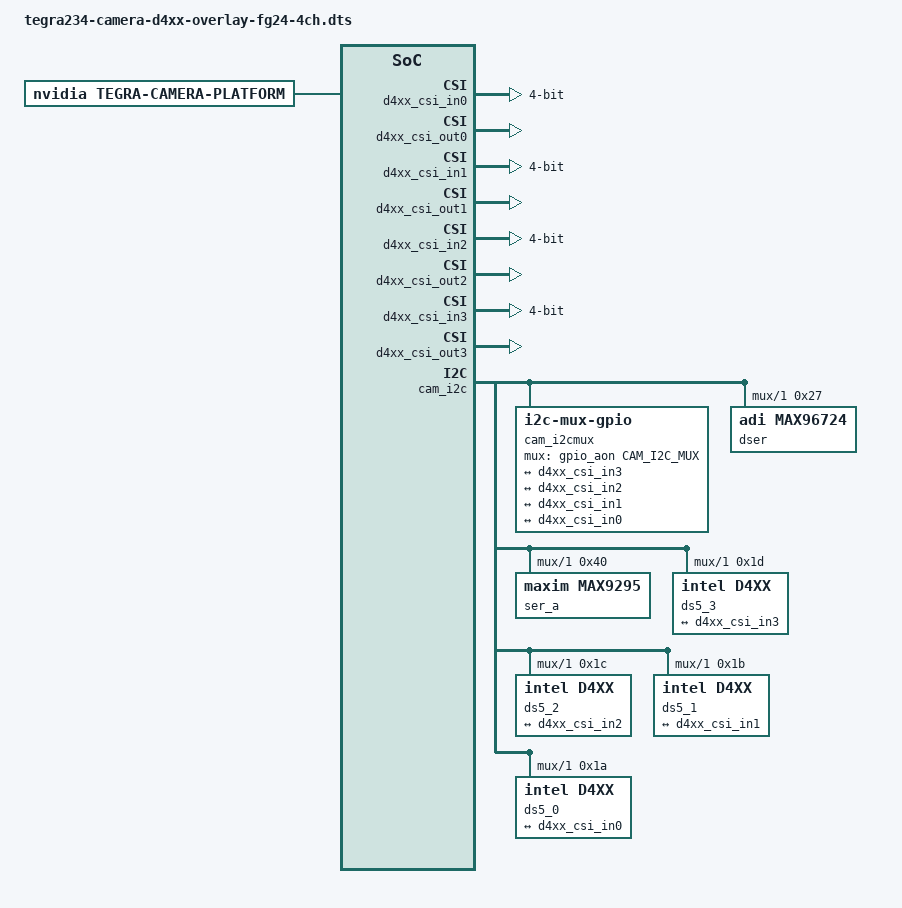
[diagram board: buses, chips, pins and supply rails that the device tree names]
// SPDX-License-Identifier: GPL-2.0-only
// SPDX-FileCopyrightText: Copyright (c) 2026, RealSense CORPORATION.  All rights reserved.

/*
 * RealSense D4xx (D457/D401/D45x) overlay for the FangZhu FG24-4CH carrier
 * board on NVIDIA Jetson Orin Nano (p3768-0000 + p3767-xxxx).
 *
 * Board topology (single camera on deserializer link A):
 *   D4xx --GMSL2--> MAX9295 serializer (0x40) --> MAX96724 deserializer (0x27)
 *        --CSI-2--> Orin Nano CSI port C (port-index = 2 / serial_c).
 *
 * The MAX96724 runs in pixel mode (adi,pixel-mode): one of its four video
 * pipes per stream, so the deserializer carries at most four concurrent
 * streams in total. Camera->serializer is 2-lane, deserializer->Jetson 4-lane
 * at 1300 Mbps/lane, hence serdes_pix_clk_hz = 4 x 1300 Mbps / 16 bpp.
 *
 * Derived from the FG12-4CH D4xx overlay (same Orin Nano connector, I2C mux
 * leg and CSI routing) with the FG24-4CH MAX96724 node of the D5xx overlay.
 */

/dts-v1/;
/plugin/;

#include <dt-bindings/clock/tegra234-clock.h>
#include <dt-bindings/gpio/tegra234-gpio.h>
#include <dt-bindings/tegra234-p3767-0000-common.h>

#define CAM_I2C_MUX	TEGRA234_AON_GPIO(CC, 3)

/ {
	overlay-name = "Jetson RealSense Camera D4xx with max96724 for FangZhu FG24-4CH on Orin Nano (link A)";
	jetson-header-name = "Jetson 22pin CSI Connector";
	compatible = JETSON_COMPATIBLE_P3768;

	fragment@0 {
		target-path = "/";
		__overlay__ {
			tegra-capture-vi {
				num-channels = <4>;
				ports {
					status = "okay";
					port@0 {
						status = "okay";
						reg = <0>;
						d4xx_vi_in0: endpoint {
							status = "okay";
							vc-id = <0>;
							port-index = <2>;
							bus-width = <4>;
							remote-endpoint = <&d4xx_csi_out0>;
						};
					};
					port@1 {
						status = "okay";
						reg = <1>;
						d4xx_vi_in1: endpoint {
							status = "okay";
							vc-id = <1>;
							port-index = <2>;
							bus-width = <4>;
							remote-endpoint = <&d4xx_csi_out1>;
						};
					};
					port@2 {
						status = "okay";
						reg = <2>;
						d4xx_vi_in2: endpoint {
							status = "okay";
							vc-id = <2>;
							port-index = <2>;
							bus-width = <4>;
							remote-endpoint = <&d4xx_csi_out2>;
						};
					};
					port@3 {
						status = "okay";
						reg = <3>;
						d4xx_vi_in3: endpoint {
							status = "okay";
							vc-id = <3>;
							port-index = <2>;
							bus-width = <4>;
							remote-endpoint = <&d4xx_csi_out3>;
						};
					};
				};
			};
			tegra-camera-platform {
				compatible = "nvidia, tegra-camera-platform";
				status = "okay";
				num_csi_lanes = <2>;
				max_lane_speed = <1500000>;
				min_bits_per_pixel = <8>;
				vi_peak_byte_per_pixel = <2>;
				vi_bw_margin_pct = <25>;
				max_pixel_rate = <160000>;
				isp_peak_byte_per_pixel = <5>;
				isp_bw_margin_pct = <25>;
				modules {
					status = "okay";
					module0 {
						status = "okay";
						badge = "d4xx_depth";
						position = "left";
						orientation = "1";
						drivernode0 {
							status = "okay";
							pcl_id = "v4l2_sensor";
							devname = "DS5 mux 2-001a";
							sysfs-device-tree = "/sys/firmware/devicetree/base/bus@0/cam_i2cmux/i2c@1/ds5@1a";
						};
					};
					module1 {
						status = "okay";
						badge = "d4xx_rgb";
						position = "left";
						orientation = "1";
						drivernode0 {
							status = "okay";
							pcl_id = "v4l2_sensor";
							devname = "DS5 mux 2-001b";
							sysfs-device-tree = "/sys/firmware/devicetree/base/bus@0/cam_i2cmux/i2c@1/ds5@1b";
						};
					};
					module2 {
						status = "okay";
						badge = "d4xx_Y8";
						position = "left";
						orientation = "1";
						drivernode0 {
							status = "okay";
							pcl_id = "v4l2_sensor";
							devname = "DS5 mux 2-001c";
							sysfs-device-tree = "/sys/firmware/devicetree/base/bus@0/cam_i2cmux/i2c@1/ds5@1c";
						};
					};
					module3 {
						status = "okay";
						badge = "d4xx_imu";
						position = "left";
						orientation = "1";
						drivernode0 {
							status = "okay";
							pcl_id = "v4l2_sensor";
							devname = "DS5 mux 2-001d";
							sysfs-device-tree = "/sys/firmware/devicetree/base/bus@0/cam_i2cmux/i2c@1/ds5@1d";
						};
					};
				};
			};
			bus@0 {
				host1x@13e00000 {
					nvcsi@15a00000 {
						num-channels = <4>;
						channel@0 {
							status = "okay";
							reg = <0>;
							ports {
								status = "okay";
								port@0 {
									status = "okay";
									reg = <0>;
									d4xx_csi_in0: endpoint@0 {
										status = "okay";
										port-index = <2>;
										bus-width = <4>;
										remote-endpoint = <&ds5_0_out>;
									};
								};
								port@1 {
									status = "okay";
									reg = <1>;
									d4xx_csi_out0: endpoint@1 {
										status = "okay";
										remote-endpoint = <&d4xx_vi_in0>;
									};
								};
							};
						};
						channel@1 {
							status = "okay";
							reg = <1>;
							ports {
								status = "okay";
								port@0 {
									status = "okay";
									reg = <0>;
									d4xx_csi_in1: endpoint@2 {
										status = "okay";
										port-index = <2>;
										bus-width = <4>;
										remote-endpoint = <&ds5_1_out>;
									};
								};
								port@1 {
									status = "okay";
									reg = <1>;
									d4xx_csi_out1: endpoint@3 {
										status = "okay";
										remote-endpoint = <&d4xx_vi_in1>;
									};
								};
							};
						};
						channel@2 {
							status = "okay";
							reg = <2>;
							ports {
								status = "okay";
								port@0 {
									status = "okay";
									reg = <0>;
									d4xx_csi_in2: endpoint@4 {
										status = "okay";
										port-index = <2>;
										bus-width = <4>;
										remote-endpoint = <&ds5_2_out>;
									};
								};
								port@1 {
									status = "okay";
									reg = <1>;
									d4xx_csi_out2: endpoint@5 {
										status = "okay";
										remote-endpoint = <&d4xx_vi_in2>;
									};
								};
							};
						};
						channel@3 {
							status = "okay";
							reg = <3>;
							ports {
								status = "okay";
								port@0 {
									status = "okay";
									reg = <0>;
									d4xx_csi_in3: endpoint@6 {
										status = "okay";
										port-index = <2>;
										bus-width = <4>;
										remote-endpoint = <&ds5_3_out>;
									};
								};
								port@1 {
									status = "okay";
									reg = <1>;
									d4xx_csi_out3: endpoint@7 {
										status = "okay";
										remote-endpoint = <&d4xx_vi_in3>;
									};
								};
							};
						};
					};
				};

				/*
				 * Camera control I2C: cam_i2c -> GPIO mux channel 1
				 * (i2c@1, CAM_I2C_MUX high), as on the FG24-4CH D5xx
				 * overlay. The video path is serial_c / port-index 2.
				 */
				cam_i2cmux {
					compatible = "i2c-mux-gpio";
					#address-cells = <1>;
					#size-cells = <0>;
					i2c-parent = <&cam_i2c>;
					mux-gpios = <&gpio_aon CAM_I2C_MUX GPIO_ACTIVE_HIGH>;

					i2c@1 {
						reg = <1>;
						#address-cells = <1>;
						#size-cells = <0>;

					dser: max96724@27 {
						status = "okay";
						reg = <0x27>;
						compatible = "adi,max96724";
						adi,pixel-mode;
						csi-mode = "2x4";
						csi-lane-count = <4>;
						/* Matches serdes_pix_clk_hz in every modeN. */
						csi-lane-rate-mbps = <1300>;
						max-src = <1>;
						link-mask = <0x1>;
						gmsl-link-speed = <6>;
					};

					ser_a: max9295_a@40 {
						status = "okay";
						compatible = "maxim,max9295";
						reg = <0x40>;
						maxim,gmsl-dser-device = <&dser>;
					};

					ds5_3: ds5@1d {
						status = "okay";
						def-addr = <0x10>;
						reg = <0x1d>;
						override_reg = <0x1a>;
						compatible = "intel,d4xx";
						use_sensor_mode_id = "true";
						cam-type = "IMU";
						nvidia,gmsl-ser-device = <&ser_a>;
						nvidia,gmsl-dser-device = <&dser>;
						ports {
							#address-cells = <1>;
							#size-cells = <0>;

							port@0 {
								reg = <0>;
								ds5_3_out: endpoint {
									vc-id = <3>;
									port-index = <3>;
									bus-width = <2>;
									remote-endpoint = <&d4xx_csi_in3>;
								};
							};
						};
						mode0 {
							pixel_t = "grey_y16";
							num_lanes = "4";
							csi_pixel_bit_depth = "16";
							active_w = "640";
							active_h = "480";
							tegra_sinterface = "serial_c";
							mclk_khz = "24000";
							pix_clk_hz = "74250000";
							serdes_pix_clk_hz = "325000000"; /* 4 lanes x 1300 Mbps / 16 bpp */
							line_length = "1280"; /* 2200 */
							embedded_metadata_height = "0";
						};
						gmsl-link {
							src-csi-port = "b";
							dst-csi-port = "a";
							serdes-csi-link = "a";
							csi-mode = "1x4";
							st-vc = <0>;
							vc-id = <3>;
							num-lanes = <2>;
						};
					};

					ds5_2: ds5@1c {
						status = "okay";
						def-addr = <0x10>;
						reg = <0x1c>;
						override_reg = <0x1a>;
						compatible = "intel,d4xx";
						use_sensor_mode_id = "true";
						cam-type = "Y8";
						nvidia,gmsl-ser-device = <&ser_a>;
						nvidia,gmsl-dser-device = <&dser>;
						ports {
							#address-cells = <1>;
							#size-cells = <0>;

							port@0 {
								reg = <0>;
								ds5_2_out: endpoint {
									vc-id = <2>;
									port-index = <2>;
									bus-width = <2>;
									remote-endpoint = <&d4xx_csi_in2>;
								};
							};
						};
						/* mode0: Y8, mode1: depth D16 */
						mode0 {
							pixel_t = "grey_y16";
							num_lanes = "4";
							csi_pixel_bit_depth = "16";
							active_w = "1280";
							active_h = "720";
							tegra_sinterface = "serial_c";
							mclk_khz = "24000";
							pix_clk_hz = "74250000";
							serdes_pix_clk_hz = "325000000"; /* 4 lanes x 1300 Mbps / 16 bpp */
							line_length = "1280"; /* 2200 */
							embedded_metadata_height = "1";
						};
						gmsl-link {
							src-csi-port = "b";
							dst-csi-port = "a";
							serdes-csi-link = "a";
							csi-mode = "1x4";
							st-vc = <0>;
							vc-id = <2>;
							num-lanes = <2>;
						};
					};

					ds5_1: ds5@1b {
						status = "okay";
						def-addr = <0x10>;
						reg = <0x1b>;
						override_reg = <0x1a>;
						compatible = "intel,d4xx";
						use_sensor_mode_id = "true";
						cam-type = "RGB";
						nvidia,gmsl-ser-device = <&ser_a>;
						nvidia,gmsl-dser-device = <&dser>;
						ports {
							#address-cells = <1>;
							#size-cells = <0>;

							port@0 {
								reg = <0>;
								ds5_1_out: endpoint {
									vc-id = <1>;
									port-index = <1>;
									bus-width = <2>;
									remote-endpoint = <&d4xx_csi_in1>;
								};
							};
						};
						mode0 {
							pixel_t = "grey_y16";
							num_lanes = "4";
							csi_pixel_bit_depth = "16";
							active_w = "1920";
							active_h = "1080";
							tegra_sinterface = "serial_c";
							mclk_khz = "24000";
							pix_clk_hz = "74250000";
							serdes_pix_clk_hz = "325000000"; /* 4 lanes x 1300 Mbps / 16 bpp */
							line_length = "1280"; /* 2200 */
							embedded_metadata_height = "1";
						};
						gmsl-link {
							src-csi-port = "b";
							dst-csi-port = "a";
							serdes-csi-link = "a";
							csi-mode = "1x4";
							st-vc = <0>;
							vc-id = <1>;
							num-lanes = <2>;
						};
					};

					ds5_0: ds5@1a {
						status = "okay";
						def-addr = <0x10>;
						reg = <0x1a>;
						compatible = "intel,d4xx";
						use_sensor_mode_id = "true";
						cam-type = "Depth";
						nvidia,gmsl-ser-device = <&ser_a>;
						nvidia,gmsl-dser-device = <&dser>;
						ports {
							#address-cells = <1>;
							#size-cells = <0>;

							port@0 {
								reg = <0>;
								ds5_0_out: endpoint {
									vc-id = <0>;
									port-index = <0>;
									bus-width = <2>;
									remote-endpoint = <&d4xx_csi_in0>;
								};
							};
						};
						mode0 {
							pixel_t = "grey_y16";
							num_lanes = "4";
							csi_pixel_bit_depth = "16";
							active_w = "1280";
							active_h = "720";
							tegra_sinterface = "serial_c";
							mclk_khz = "24000";
							pix_clk_hz = "74250000";
							serdes_pix_clk_hz = "325000000"; /* 4 lanes x 1300 Mbps / 16 bpp */
							line_length = "1280"; /* 2200 */
							embedded_metadata_height = "1";
						};
						gmsl-link {
							src-csi-port = "b";
							dst-csi-port = "a";
							serdes-csi-link = "a";
							csi-mode = "1x4";
							st-vc = <0>;
							vc-id = <0>;
							num-lanes = <2>;
						};
					};
					};
				};
			};
		};
	};
};
